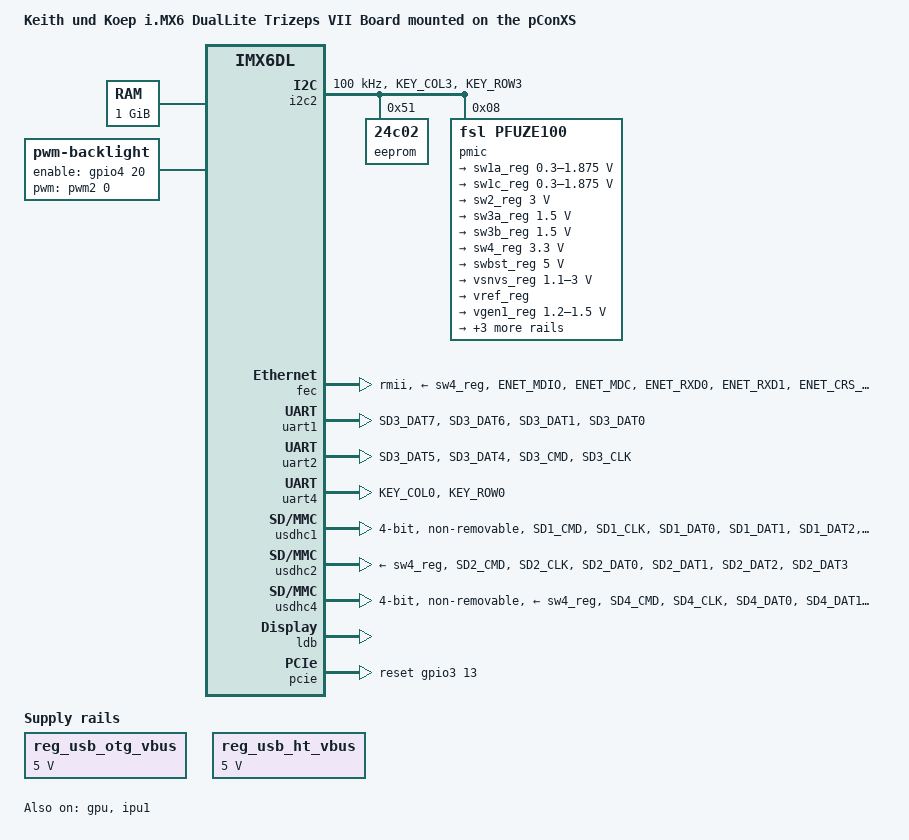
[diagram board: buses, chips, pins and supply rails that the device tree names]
/dts-v1/;

#include <dt-bindings/pwm/pwm.h>
#include "imx6dl.dtsi"

/ {
	model = "Keith und Koep i.MX6 DualLite Trizeps VII Board mounted on the pConXS";
	compatible = "fsl,imx6dl";

	memory {
		reg = <0x10000000 0x40000000>;
	};

	regulators {
		compatible = "simple-bus";
		#address-cells = <1>;
		#size-cells = <0>;
		reg_usb_otg_vbus: regulator@0 {
			compatible = "regulator-fixed";
			reg = <0>;
			regulator-name = "usb_otg_vbus";
			regulator-min-microvolt = <5000000>;
			regulator-max-microvolt = <5000000>;
/*
			gpio = <&gpiox xx 0>;
			enable-active-high; low?
*/
		};
		reg_usb_ht_vbus: regulator@1 {
			compatible = "regulator-fixed";
			reg = <1>;
			regulator-name = "usb_h1_vbus";
			regulator-min-microvolt = <5000000>;
			regulator-max-microvolt = <5000000>;
/*
			gpio = <&gpiox xx 0>;
			enable-active-high; low?
*/
		};
	};

	backlight {
		compatible = "pwm-backlight";
		pwms = <&pwm2 0 30517 PWM_POLARITY_INVERTED>;
		enable-gpios = <&gpio4 20>;
		brightness-levels = <0 4 8 16 32 64 128 255>;
		default-brightness-level = <7>;
		status = "okay";
	};

};

&gpu {
	status = "okay";
};

&iomuxc {
	trizeps7-pconxs {
		pinctrl_i2c2_2: i2c2grp-2 {
			fsl,pins = <
				MX6QDL_PAD_KEY_COL3__I2C2_SCL 0x4001b8b1
				MX6QDL_PAD_KEY_ROW3__I2C2_SDA 0x4001b8b1
			>;
		};
		pinctrl_enet_4: enetgrp-4 {
			fsl,pins = <
				MX6QDL_PAD_ENET_MDIO__ENET_MDIO       0x1b0b0
				MX6QDL_PAD_ENET_MDC__ENET_MDC         0x1b0b0
				MX6QDL_PAD_ENET_RXD0__ENET_RX_DATA0   0x80000000
				MX6QDL_PAD_ENET_RXD1__ENET_RX_DATA1   0x80000000
				MX6QDL_PAD_ENET_CRS_DV__ENET_RX_EN    0x80000000 
				MX6QDL_PAD_ENET_RX_ER__ENET_RX_ER     0x80000000
				MX6QDL_PAD_ENET_TX_EN__ENET_TX_EN     0x80000000
				MX6QDL_PAD_ENET_TXD0__ENET_TX_DATA0   0x80000000
				MX6QDL_PAD_ENET_TXD1__ENET_TX_DATA1   0x80000000
				MX6QDL_PAD_RGMII_TX_CTL__RGMII_TX_CTL 0x1b0b0
				MX6QDL_PAD_ENET_REF_CLK__ENET_TX_CLK  0x1b0b0
			>;
		};
		pinctrl_uart1_2: uart1grp-2 {
		fsl,pins = <
			MX6QDL_PAD_SD3_DAT7__UART1_TX_DATA 0x1b0b1
			MX6QDL_PAD_SD3_DAT6__UART1_RX_DATA 0x1b0b1
			MX6QDL_PAD_SD3_DAT1__UART1_RTS_B 0x1b0b1
			MX6QDL_PAD_SD3_DAT0__UART1_CTS_B 0x1b0b1

			>;
		};
		pinctrl_uart2_3: uart2grp-3 {
			fsl,pins = <
				MX6QDL_PAD_SD3_DAT5__UART2_TX_DATA 0x1b0b1
				MX6QDL_PAD_SD3_DAT4__UART2_RX_DATA 0x1b0b1
				MX6QDL_PAD_SD3_CMD__UART2_CTS_B 0x1b0b1
				MX6QDL_PAD_SD3_CLK__UART2_RTS_B 0x1b0b1
			>;
		};
		pinctrl_uart4_1: uart4grp-1 {
			fsl,pins = <
				MX6QDL_PAD_KEY_COL0__UART4_TX_DATA 0x1b0b1
				MX6QDL_PAD_KEY_ROW0__UART4_RX_DATA 0x1b0b1
			>;
		};
		pinctrl_usdhc1_2: usdhc1grp-2 {
			fsl,pins = <
				MX6QDL_PAD_SD1_CMD__SD1_CMD    0x17059
				MX6QDL_PAD_SD1_CLK__SD1_CLK    0x10059
				MX6QDL_PAD_SD1_DAT0__SD1_DATA0 0x17059
				MX6QDL_PAD_SD1_DAT1__SD1_DATA1 0x17059
				MX6QDL_PAD_SD1_DAT2__SD1_DATA2 0x17059
				MX6QDL_PAD_SD1_DAT3__SD1_DATA3 0x17059
				MX6QDL_PAD_KEY_COL2__GPIO4_IO10 0x20000
				MX6QDL_PAD_GPIO_2__GPIO1_IO02 0x20000
			>;
		};
		pinctrl_usdhc2_2: usdhc2grp-2 {
			fsl,pins = <
				MX6QDL_PAD_SD2_CMD__SD2_CMD    0x17059
				MX6QDL_PAD_SD2_CLK__SD2_CLK    0x10059
				MX6QDL_PAD_SD2_DAT0__SD2_DATA0 0x17059
				MX6QDL_PAD_SD2_DAT1__SD2_DATA1 0x17059
				MX6QDL_PAD_SD2_DAT2__SD2_DATA2 0x17059
				MX6QDL_PAD_SD2_DAT3__SD2_DATA3 0x17059
			>;
		};
		pinctrl_usdhc4_1: usdhc4grp-1 {
			fsl,pins = <
				MX6QDL_PAD_SD4_CMD__SD4_CMD    0x17059
				MX6QDL_PAD_SD4_CLK__SD4_CLK    0x10059
				MX6QDL_PAD_SD4_DAT0__SD4_DATA0 0x17059
				MX6QDL_PAD_SD4_DAT1__SD4_DATA1 0x17059
				MX6QDL_PAD_SD4_DAT2__SD4_DATA2 0x17059
				MX6QDL_PAD_SD4_DAT3__SD4_DATA3 0x17059
				MX6QDL_PAD_SD4_DAT4__SD4_DATA4 0x17059
				MX6QDL_PAD_SD4_DAT5__SD4_DATA5 0x17059
				MX6QDL_PAD_SD4_DAT6__SD4_DATA6 0x17059
				MX6QDL_PAD_SD4_DAT7__SD4_DATA7 0x17059
			>;
		};
		pinctrl_ipu1_1: ipu1grp-1 {
			fsl,pins = <
				MX6QDL_PAD_DI0_DISP_CLK__IPU1_DI0_DISP_CLK 0x10
				MX6QDL_PAD_DI0_PIN15__IPU1_DI0_PIN15       0x10
				MX6QDL_PAD_DI0_PIN2__IPU1_DI0_PIN02        0x10
				MX6QDL_PAD_DI0_PIN3__IPU1_DI0_PIN03        0x10
				MX6QDL_PAD_DI0_PIN4__IPU1_DI0_PIN04        0x80000000
				MX6QDL_PAD_DISP0_DAT0__IPU1_DISP0_DATA00   0x10
				MX6QDL_PAD_DISP0_DAT1__IPU1_DISP0_DATA01   0x10
				MX6QDL_PAD_DISP0_DAT2__IPU1_DISP0_DATA02   0x10
				MX6QDL_PAD_DISP0_DAT3__IPU1_DISP0_DATA03   0x10
				MX6QDL_PAD_DISP0_DAT4__IPU1_DISP0_DATA04   0x10
				MX6QDL_PAD_DISP0_DAT5__IPU1_DISP0_DATA05   0x10
				MX6QDL_PAD_DISP0_DAT6__IPU1_DISP0_DATA06   0x10
				MX6QDL_PAD_DISP0_DAT7__IPU1_DISP0_DATA07   0x10
				MX6QDL_PAD_DISP0_DAT8__IPU1_DISP0_DATA08   0x10
				MX6QDL_PAD_DISP0_DAT9__IPU1_DISP0_DATA09   0x10
				MX6QDL_PAD_DISP0_DAT10__IPU1_DISP0_DATA10  0x10
				MX6QDL_PAD_DISP0_DAT11__IPU1_DISP0_DATA11  0x10
				MX6QDL_PAD_DISP0_DAT12__IPU1_DISP0_DATA12  0x10
				MX6QDL_PAD_DISP0_DAT13__IPU1_DISP0_DATA13  0x10
				MX6QDL_PAD_DISP0_DAT14__IPU1_DISP0_DATA14  0x10
				MX6QDL_PAD_DISP0_DAT15__IPU1_DISP0_DATA15  0x10
				MX6QDL_PAD_DISP0_DAT16__IPU1_DISP0_DATA16  0x10
				MX6QDL_PAD_DISP0_DAT17__IPU1_DISP0_DATA17  0x10
				MX6QDL_PAD_DISP0_DAT18__IPU1_DISP0_DATA18  0x10
				MX6QDL_PAD_DISP0_DAT19__IPU1_DISP0_DATA19  0x10
				MX6QDL_PAD_DISP0_DAT20__IPU1_DISP0_DATA20  0x10
				MX6QDL_PAD_DISP0_DAT21__IPU1_DISP0_DATA21  0x10
				MX6QDL_PAD_DISP0_DAT22__IPU1_DISP0_DATA22  0x10
				MX6QDL_PAD_DISP0_DAT23__IPU1_DISP0_DATA23  0x10
			>;
		};
	};
};

&i2c2 {
	clock-frequency = <100000>;
	pinctrl-names = "default";
	pinctrl-0 = <&pinctrl_i2c2_2>;
	status = "okay";
	eeprom: eeprom@51 {
		compatible = "24c02";
		reg = <0x51>;
		pagesize = <16>;
	};
	pmic: pfuze100@08 {
		compatible = "fsl,pfuze100";
		reg = < 0x08 >;
		status = "okay";
		regulators {
			sw1a_reg: sw1a {
				regulator-name = "PFUZE100_SW1A";
				regulator-min-microvolt = <300000>;
				regulator-max-microvolt = <1875000>;
				/*valid-ops-mask = REGULATOR_CHANGE_COLTAGE;
				  valid-modes-mask = 0;*/
				regulator-boot-on;
				regulator-always-on;
			};
			sw1c_reg: sw1c {
				regulator-name = "PFUZE100_SW1C";
				regulator-min-microvolt = <300000>;
				regulator-max-microvolt = <1875000>;
				regulator-always-on;
				regulator-boot-on;
/* initial state? PM_SUSPEND_MEM, state_mem = {...} */
			};
			sw2_reg: sw2 {
				regulator-name = "PFUZE100_SW2";
				regulator-min-microvolt = <3000000>;
				regulator-max-microvolt = <3000000>;
				regulator-boot-on;
			};
			sw3a_reg: sw3a {
				regulator-name = "PFUZE100_SW3A";
				regulator-min-microvolt = <1500000>;
				regulator-max-microvolt = <1500000>;
				regulator-always-on;
				regulator-boot-on;
			};
			sw3b_reg: sw3b {
				regulator-name = "PFUZE100_SW3B";
				regulator-min-microvolt = <1500000>;
				regulator-max-microvolt = <1500000>;
				regulator-always-on;
				regulator-boot-on;
			};
			sw4_reg: sw4 {
				regulator-name = "PFUZE100_SW4";
				regulator-min-microvolt = <3300000>;
				regulator-max-microvolt = <3300000>;
				regulator-always-on;
				regulator-boot-on;
			};
			swbst_reg: swbst {
				regulator-name = "PFUZE100_SWBST";
				regulator-min-microvolt = <5000000>;
				regulator-max-microvolt = <5000000>;
				regulator-always-on;
			};
			vsnvs_reg: vsnvs {
				regulator-name = "PFUZE100_VSNVS";
				regulator-min-microvolt = <1100000>;
				regulator-max-microvolt = <3000000>;
				regulator-always-on;
			};
			vref_reg: vrefddr {
				regulator-name = "PFUZE100_VREFDDR";
				regulator-always-on;
				regulator-boot-on;
			};
			vgen1_reg: vgen1 {
				regulator-name = "PFUZE100_VGEN1";
				regulator-min-microvolt = <1200000>;
				regulator-max-microvolt = <1500000>;
			};
/*
			vgen2_reg: vgen2 {
				regulator-name = "PFUZE100_VGEN2";
				regulator-min-microvolt = <1100000>;
				regulator-max-microvolt = <1100000>;
				regulator-always-on;
			};
			vgen3_reg: vgen3 {
				regulator-name = "PFUZE100_VGEN3";
				regulator-min-microvolt = <1800000>;
				regulator-max-microvolt = <1800000>;
			};
*/
			vgen4_reg: vgen4 {
				regulator-name = "PFUZE100_VGEN4";
				regulator-min-microvolt = <1800000>;
				regulator-max-microvolt = <1800000>;
				regulator-boot-on;
			};
			vgen5_reg: vgen5 {
				regulator-name = "PFUZE100_VGEN5";
				regulator-min-microvolt = <3300000>;
				regulator-max-microvolt = <3300000>;
				regulator-always-on;
			};
			vgen6_reg: vgen6 {
				regulator-name = "PFUZE100_VGEN6";
				regulator-min-microvolt = <2500000>;
				regulator-max-microvolt = <2500000>;
				regulator-always-on;
			};
		};
	};
};

&fec {
	pinctrl-names = "default";
	pinctrl-0 = <&pinctrl_enet_4>;
	phy-mode = "rmii";
	status = "okay";
	phy-reset-gpios = <&gpio6 31 0>;
	phy-supply = <&sw4_reg>;
};

&uart1 {
	pinctrl-names = "default";
	pinctrl-0 = <&pinctrl_uart1_2>;
	status = "okay";
};

&uart2 {
	pinctrl-names = "default";
	pinctrl-0 = <&pinctrl_uart2_3>;
	status = "okay";
};
&uart4 {
	pinctrl-names = "default";
	pinctrl-0 = <&pinctrl_uart4_1>;
	status = "okay";
};

&usdhc1 { /* this is the WiBear 11n wireless module */
	pinctrl-names = "default";
	pinctrl-0 = <&pinctrl_usdhc1_2>;
	status = "okay";
/* supply comes from vgen4 and vgen3 ... */
	reset-gpios = <&gpio1 2 0>;
	shutdown-gpios = <&gpio4 10 0>;
	non-removable;
	keep-power-in-suspend;
	no-1-8-v;
	bus-width = <4>;
};
&usdhc2 {
	pinctrl-names = "default";
	pinctrl-0 = <&pinctrl_usdhc2_2>;
	keep-power-in-suspend;
	status = "okay";
	vmmc-supply = <&sw4_reg>;
};
&usdhc4 {
	pinctrl-names = "default";
	pinctrl-0 = <&pinctrl_usdhc4_1>;
	status = "okay";
	keep-power-in-suspend;
	non-removable;
	no-1-8-v;
	bus-width = <4>;
	vmmc-supply = <&sw4_reg>;
};


&ldb {
	status = "okay";
	lvds-channel@0 {
		fsl,data-mapping = "spwg";
		fsl,data-width = <18>;
		status = "okay";
		display-timings {
			native-mode = <&timing0>;
			timing0: ipan5pxn1 {
				clock-frequency = <30000000>;
				hactive = <800>;
				vactive = <480>;
				hback-porch = <40>;
				hfront-porch = <40>;
				vback-porch = <29>;
				vfront-porch = <13>;
				hsync-len = <48>;
				vsync-len = <3>;
				vsync-active = <0>;
			};	
		};
	};
};

&pwm3 {
	status = "disabled";
};

&pwm4 {
	status = "disabled";
};

&ipu1 {
	pinctrl-names = "default";
	pinctrl-0 = <&pinctrl_ipu1_1>;
	status = "okay";
};

&weim {
	status = "disabled";
};

&pcie {
	status = "okay";
	reset-gpio = <&gpio3 13 0>;
	wake-up-gpio = <&gpio6 7 0>;
};
